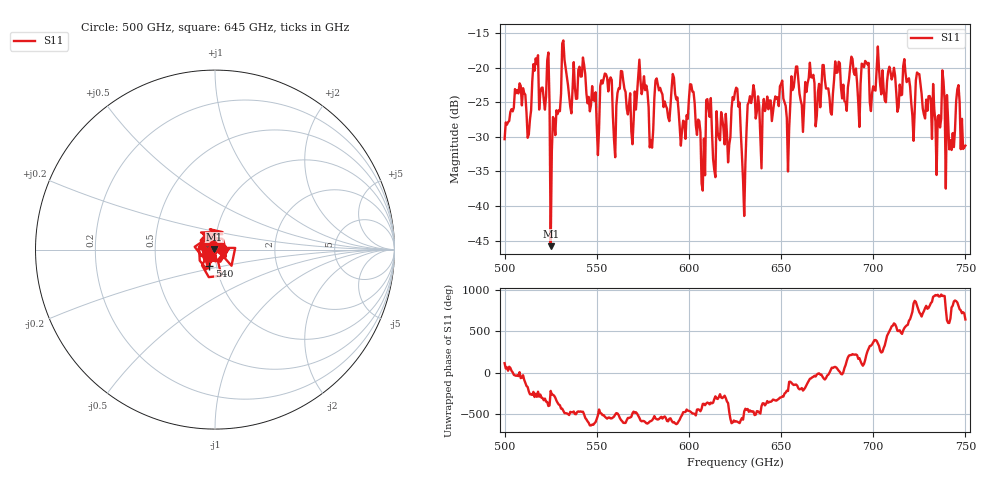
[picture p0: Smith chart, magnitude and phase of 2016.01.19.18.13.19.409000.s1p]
!Created with skrf (http://scikit-rf.org).
# GHz S RI R 50.0
!freq ReS11 ImS11
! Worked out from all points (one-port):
!   401 points, 500 GHz to 750 GHz, reference 50 ohm
!   lowest |S11| = -45.8 dB at 525 GHz (marker M1), VSWR 1.01, Z = 49.6 + j0.335 ohm
!   |S11| at or under -10 dB: start of sweep to end of sweep
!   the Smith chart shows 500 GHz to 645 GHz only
!   S11 on the Smith chart (normalised r, x): 500 GHz: 0.97, +0.05; 540 GHz: 0.92, -0.17; 645 GHz: 1.08, +0.02
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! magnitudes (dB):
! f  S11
! 500 GHz  -30.3
! 507.5 GHz  -23.7
! 513.1 GHz  -29.7
! 516.9 GHz  -18.7
! 525 GHz  -45.8
! 531.2 GHz  -16.5
! 540 GHz  -20.3
! 560 GHz  -32.9
! 562.5 GHz  -23.0
! 570 GHz  -27.7
! 574.4 GHz  -23.8
! 579.4 GHz  -30.4
! 583.1 GHz  -22.4
! 593.8 GHz  -24.3
! 601.9 GHz  -23.4
! 607.5 GHz  -37.8
! 610.6 GHz  -26.0
! 614.4 GHz  -35.8
! 625 GHz  -23.5
! 629.4 GHz  -36.2
! 633.8 GHz  -25.1
! 645 GHz  -27.7
! 656.2 GHz  -23.2
! 687.5 GHz  -19.9
! 718.8 GHz  -21.9
! 742.5 GHz  -31.9
! 745.6 GHz  -23.1
! 750 GHz  -31.3
